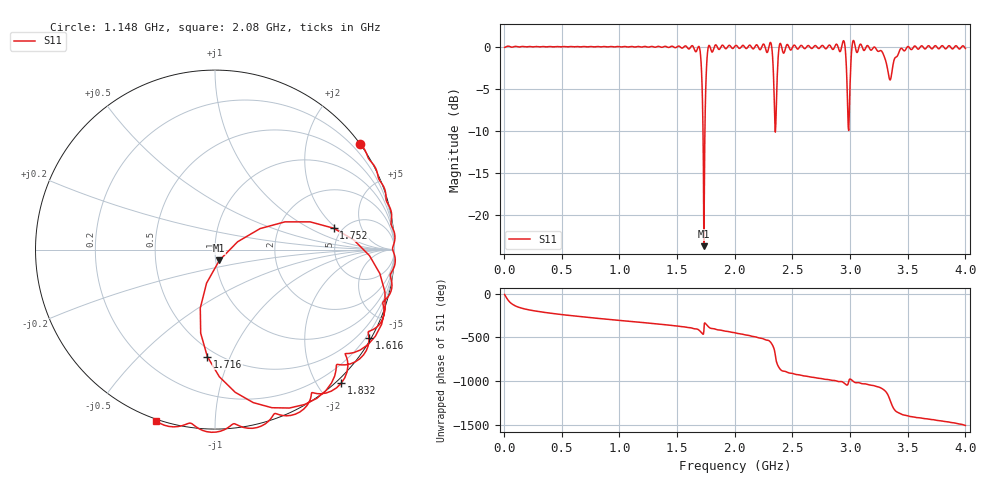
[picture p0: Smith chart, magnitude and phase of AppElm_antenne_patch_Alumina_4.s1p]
! TOUCHSTONE file generated by CST MICROWAVE STUDIO
! Date and time: Thu Jun  9 08:54:58 2022
! Project name: AppElm_antenne_patch_Alumina.cst
! Parameters = {L=27.45; W=41.8; e=0.035; h=1.6; lambda=0.190476; ls=90; w0=1.12; w1=0.373; ws=90; y0=14; y1=10}
! Header version: 2018
! Port assignment regex: !\s*Touchstone port\s*([0-9]+)\s*=\s*(CST MWS port|CST DS port)\s*([0-9]+|Zmin|Zmax)\s*\(\"(.*)\"\)(\s*mode\s*([0-9]+))?.*
! Touchstone port assignment:
! Touchstone port 1 = CST MWS port 1 ("")
# GHz S MA R 50
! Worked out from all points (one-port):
!   1000 points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, 4 MHz to 4 GHz, reference 50 ohm
!   lowest |S11| = -23.8 dB at 1.732 GHz (marker M1), VSWR 1.14, Z = 52.1 - j6.29 ohm
!   |S11| at or under -10 dB: 1.724 GHz to 1.741 GHz (16.83 MHz wide, 0.971 % of centre); 2.35132 GHz to 2.352761 GHz (1.441 MHz wide, 0.0613 % of centre)
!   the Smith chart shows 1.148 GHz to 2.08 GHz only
!   S11 on the Smith chart (normalised r, x): 1.148 GHz: 0.00, +3.06; 1.616 GHz: 0.08, -3.74; 1.716 GHz: 0.45, -0.83; 1.752 GHz: 4.25, +1.85; 1.832 GHz: -0.08, -2.32; 2.08 GHz: -0.01, -0.71
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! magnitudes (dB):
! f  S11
! 4 MHz  -0.1
! 504 MHz  0.0
! 1.004 GHz  0.0
! 1.148 GHz  0.0
! 1.504 GHz  0.0
! 1.616 GHz  -0.1
! 1.692 GHz  0.0
! 1.704 GHz  -1.1
! 1.716 GHz  -4.5
! 1.732 GHz  -23.8
! 1.752 GHz  -3.5
! 1.76 GHz  -1.3
! 1.772 GHz  0.0
! 1.832 GHz  0.2
! 2.004 GHz  0.1
! 2.08 GHz  0.1
! 2.308 GHz  0.5
! 2.352 GHz  -10.2
! 2.396 GHz  0.4
! 2.504 GHz  0.0
! 2.94 GHz  0.7
! 2.98 GHz  -7.7
! 3.004 GHz  -2.9
! 3.032 GHz  0.7
! 3.272 GHz  -0.5
! 3.344 GHz  -3.9
! 3.504 GHz  0.0
! 4 GHz  -0.2
